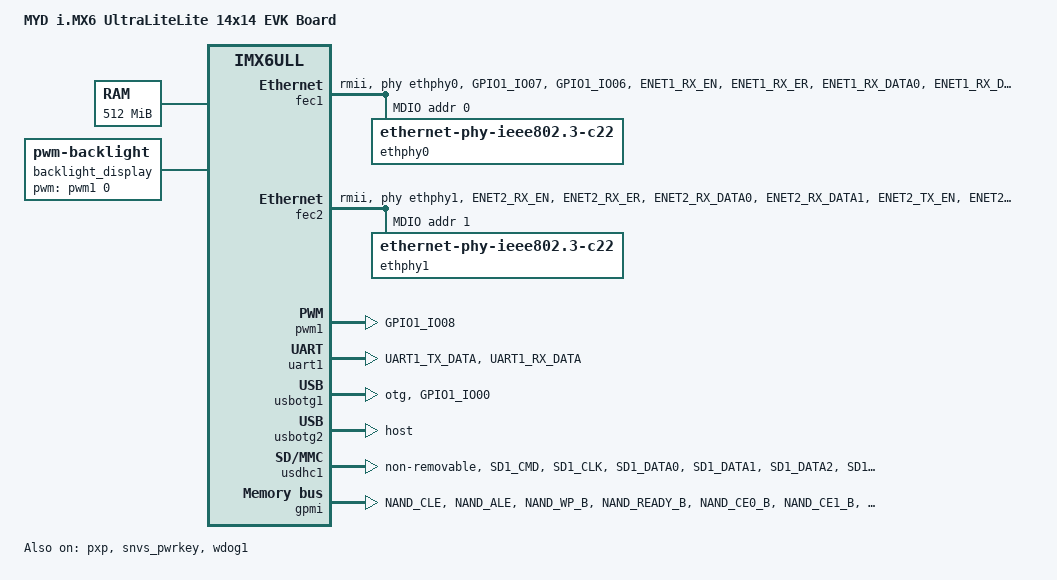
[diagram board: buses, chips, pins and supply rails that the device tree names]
// SPDX-License-Identifier: GPL-2.0
//
// Copyright (C) 2015 Freescale Semiconductor, Inc.

/dts-v1/;

#include "imx6ull.dtsi"

/ {
    model = "MYD i.MX6 UltraLiteLite 14x14 EVK Board";
	compatible = "fsl,imx6ull-14x14-evk", "fsl,imx6ull";

	chosen {
		stdout-path = &uart1;
	};

	memory@80000000 {
		device_type = "memory";
		reg = <0x80000000 0x20000000>;
	};

	backlight_display: backlight-display {
		compatible = "pwm-backlight";
		pwms = <&pwm1 0 5000000>;
		brightness-levels = <0 4 8 16 32 64 128 255>;
		default-brightness-level = <6>;
		status = "okay";
	};
};

&clks {
	assigned-clocks = <&clks IMX6UL_CLK_PLL4_AUDIO_DIV>;
	assigned-clock-rates = <786432000>;
};

&clks {
	assigned-clocks = <&clks IMX6UL_CLK_PLL3_PFD2>;
	assigned-clock-rates = <320000000>;
};


&i2c2 {
	clock-frequency = <100000>;
	pinctrl-names = "default";
	pinctrl-0 = <&pinctrl_i2c2>;
	status = "disabled";
};

&csi {
	status = "disabled";
};

&fec1 {
	pinctrl-names = "default";
	pinctrl-0 = <&pinctrl_enet1>;
	phy-mode = "rmii";
	phy-handle = <&ethphy0>;
    phy-reset-gpios = <&gpio5 9 GPIO_ACTIVE_LOW>;
    phy-reset-duration = <26>;
	status = "okay";
    mdio {
		#address-cells = <1>;
		#size-cells = <0>;

		ethphy0: ethernet-phy@0 {
			compatible = "ethernet-phy-ieee802.3-c22";
			reg = <0>;
			//micrel,led-mode = <1>;
            smsc,disable-energy-detect;
		};

	};
};

&fec2 {
	pinctrl-names = "default";
    pinctrl-0 = <&pinctrl_enet2
                 &pinctrl_fec2_reset>;
	phy-mode = "rmii";
	phy-handle = <&ethphy1>;
    phy-reset-gpios = <&gpio5 6 GPIO_ACTIVE_LOW>;
    phy-reset-duration = <26>;
	status = "okay";

	mdio {
		#address-cells = <1>;
		#size-cells = <0>;

		ethphy1: ethernet-phy@1 {
			compatible = "ethernet-phy-ieee802.3-c22";
			reg = <1>;
			micrel,led-mode = <1>;
            smsc,disable-energy-detect;
		};
	};
};

&can1 {
	pinctrl-names = "default";
	pinctrl-0 = <&pinctrl_flexcan1>;
	status = "disabled";
};

&can2 {
	pinctrl-names = "default";
	pinctrl-0 = <&pinctrl_flexcan2>;
	status = "disabled";
};

&gpc {
	fsl,cpu_pupscr_sw2iso = <0xf>;
	fsl,cpu_pupscr_sw = <0x0>;
	fsl,cpu_pdnscr_iso2sw = <0x1>;
	fsl,cpu_pdnscr_iso = <0x1>;
	fsl,ldo-bypass = <0>; /* DCDC, ldo-enable */
};

&i2c1 {
	clock-frequency = <100000>;
	pinctrl-names = "default";
	pinctrl-0 = <&pinctrl_i2c1>;
	status = "disabled";
};

&lcdif {
	assigned-clocks = <&clks IMX6UL_CLK_LCDIF_PRE_SEL>;
	assigned-clock-parents = <&clks IMX6UL_CLK_PLL5_VIDEO_DIV>;
	pinctrl-names = "default";
	pinctrl-0 = <&pinctrl_lcdif_dat
		     &pinctrl_lcdif_ctrl>;
	status = "disabled";
};

&pwm1 {
	#pwm-cells = <2>;
	pinctrl-names = "default";
	pinctrl-0 = <&pinctrl_pwm1>;
	status = "okay";
};

&pxp {
	status = "okay";
};

&qspi {
	pinctrl-names = "default";
	pinctrl-0 = <&pinctrl_qspi>;
	status = "disabled";
};

&sai2 {
	pinctrl-names = "default";
	pinctrl-0 = <&pinctrl_sai2>;
	assigned-clocks = <&clks IMX6UL_CLK_SAI2_SEL>,
			  <&clks IMX6UL_CLK_SAI2>;
	assigned-clock-parents = <&clks IMX6UL_CLK_PLL4_AUDIO_DIV>;
	assigned-clock-rates = <0>, <12288000>;
	fsl,sai-mclk-direction-output;
	status = "disabled";
};

&snvs_poweroff {
	status = "okay";
};

&snvs_pwrkey {
	status = "okay";
};

&tsc {
	pinctrl-names = "default";
	pinctrl-0 = <&pinctrl_tsc>;
	xnur-gpio = <&gpio1 3 GPIO_ACTIVE_LOW>;
	measure-delay-time = <0xffff>;
	pre-charge-time = <0xfff>;
	status = "disabled";
};

&uart1 {
	pinctrl-names = "default";
	pinctrl-0 = <&pinctrl_uart1>;
	status = "okay";
};

&uart2 {
	pinctrl-names = "default";
	pinctrl-0 = <&pinctrl_uart2>;
	status = "disabled";
};

&usbotg1 {
	dr_mode = "otg";
	pinctrl-names = "default";
	pinctrl-0 = <&pinctrl_usb_otg1>;
    srp-disable;
	hnp-disable;
	adp-disable;
	status = "okay";
};

&usbotg2 {
	dr_mode = "host";
	disable-over-current;
	status = "okay";
};

&usbphy1 {
	fsl,tx-d-cal = <106>;
};

&usbphy2 {
	fsl,tx-d-cal = <106>;
};

&usdhc1 {
	pinctrl-names = "default", "state_100mhz", "state_200mhz";
	pinctrl-0 = <&pinctrl_usdhc1>;
	pinctrl-1 = <&pinctrl_usdhc1_100mhz>;
	pinctrl-2 = <&pinctrl_usdhc1_200mhz>;
	//cd-gpios = <&gpio1 19 GPIO_ACTIVE_LOW>;
	keep-power-in-suspend;
    non-removable;
	//wakeup-source;
	status = "okay";
};

&usdhc2 {
	pinctrl-names = "default";
	pinctrl-0 = <&pinctrl_usdhc2>;
	no-1-8-v;
	broken-cd;
	keep-power-in-suspend;
	wakeup-source;
	status = "disabled";
};

&wdog1 {
	pinctrl-names = "default";
	pinctrl-0 = <&pinctrl_wdog>;
	fsl,ext-reset-output;
    status = "okay";
};

&iomuxc {
	pinctrl-names = "default";

	pinctrl_camera_clock: cameraclockgrp {
		fsl,pins = <
			MX6UL_PAD_CSI_MCLK__CSI_MCLK		0x1b088
		>;
	};

	pinctrl_csi1: csi1grp {
		fsl,pins = <
			MX6UL_PAD_CSI_PIXCLK__CSI_PIXCLK	0x1b088
			MX6UL_PAD_CSI_VSYNC__CSI_VSYNC		0x1b088
			MX6UL_PAD_CSI_HSYNC__CSI_HSYNC		0x1b088
			MX6UL_PAD_CSI_DATA00__CSI_DATA02	0x1b088
			MX6UL_PAD_CSI_DATA01__CSI_DATA03	0x1b088
			MX6UL_PAD_CSI_DATA02__CSI_DATA04	0x1b088
			MX6UL_PAD_CSI_DATA03__CSI_DATA05	0x1b088
			MX6UL_PAD_CSI_DATA04__CSI_DATA06	0x1b088
			MX6UL_PAD_CSI_DATA05__CSI_DATA07	0x1b088
			MX6UL_PAD_CSI_DATA06__CSI_DATA08	0x1b088
			MX6UL_PAD_CSI_DATA07__CSI_DATA09	0x1b088
		>;
	};

	pinctrl_enet1: enet1grp {
		fsl,pins = <
            MX6UL_PAD_GPIO1_IO07__ENET2_MDC		0x1b0b0
			MX6UL_PAD_GPIO1_IO06__ENET2_MDIO	0x1b0b0
			MX6UL_PAD_ENET1_RX_EN__ENET1_RX_EN	0x1b0b0
			MX6UL_PAD_ENET1_RX_ER__ENET1_RX_ER	0x1b0b0
			MX6UL_PAD_ENET1_RX_DATA0__ENET1_RDATA00	0x1b0b0
			MX6UL_PAD_ENET1_RX_DATA1__ENET1_RDATA01	0x1b0b0
			MX6UL_PAD_ENET1_TX_EN__ENET1_TX_EN	0x1b0b0
			MX6UL_PAD_ENET1_TX_DATA0__ENET1_TDATA00	0x1b0b0
			MX6UL_PAD_ENET1_TX_DATA1__ENET1_TDATA01	0x1b0b0
			MX6UL_PAD_ENET1_TX_CLK__ENET1_REF_CLK1	0x4001b031
		>;
	};

	pinctrl_enet2: enet2grp {
		fsl,pins = <
			MX6UL_PAD_ENET2_RX_EN__ENET2_RX_EN	0x1b0b0
			MX6UL_PAD_ENET2_RX_ER__ENET2_RX_ER	0x1b0b0
			MX6UL_PAD_ENET2_RX_DATA0__ENET2_RDATA00	0x1b0b0
			MX6UL_PAD_ENET2_RX_DATA1__ENET2_RDATA01	0x1b0b0
			MX6UL_PAD_ENET2_TX_EN__ENET2_TX_EN	0x1b0b0
			MX6UL_PAD_ENET2_TX_DATA0__ENET2_TDATA00	0x1b0b0
			MX6UL_PAD_ENET2_TX_DATA1__ENET2_TDATA01	0x1b0b0
			MX6UL_PAD_ENET2_TX_CLK__ENET2_REF_CLK2	0x4001b031
		>;
	};

	pinctrl_flexcan1: flexcan1grp{
		fsl,pins = <
			MX6UL_PAD_UART3_RTS_B__FLEXCAN1_RX	0x1b020
			MX6UL_PAD_UART3_CTS_B__FLEXCAN1_TX	0x1b020
		>;
	};

	pinctrl_flexcan2: flexcan2grp{
		fsl,pins = <
			MX6UL_PAD_UART2_RTS_B__FLEXCAN2_RX	0x1b020
			MX6UL_PAD_UART2_CTS_B__FLEXCAN2_TX	0x1b020
		>;
	};

	pinctrl_i2c1: i2c1grp {
		fsl,pins = <
			MX6UL_PAD_UART4_TX_DATA__I2C1_SCL 0x4001b8b0
			MX6UL_PAD_UART4_RX_DATA__I2C1_SDA 0x4001b8b0
		>;
	};

	pinctrl_i2c2: i2c2grp {
		fsl,pins = <
			MX6UL_PAD_UART5_TX_DATA__I2C2_SCL 0x4001b8b0
			MX6UL_PAD_UART5_RX_DATA__I2C2_SDA 0x4001b8b0
		>;
	};

	pinctrl_lcdif_dat: lcdifdatgrp {
		fsl,pins = <
			MX6UL_PAD_LCD_DATA00__LCDIF_DATA00  0x79
			MX6UL_PAD_LCD_DATA01__LCDIF_DATA01  0x79
			MX6UL_PAD_LCD_DATA02__LCDIF_DATA02  0x79
			MX6UL_PAD_LCD_DATA03__LCDIF_DATA03  0x79
			MX6UL_PAD_LCD_DATA04__LCDIF_DATA04  0x79
			MX6UL_PAD_LCD_DATA05__LCDIF_DATA05  0x79
			MX6UL_PAD_LCD_DATA06__LCDIF_DATA06  0x79
			MX6UL_PAD_LCD_DATA07__LCDIF_DATA07  0x79
			MX6UL_PAD_LCD_DATA08__LCDIF_DATA08  0x79
			MX6UL_PAD_LCD_DATA09__LCDIF_DATA09  0x79
			MX6UL_PAD_LCD_DATA10__LCDIF_DATA10  0x79
			MX6UL_PAD_LCD_DATA11__LCDIF_DATA11  0x79
			MX6UL_PAD_LCD_DATA12__LCDIF_DATA12  0x79
			MX6UL_PAD_LCD_DATA13__LCDIF_DATA13  0x79
			MX6UL_PAD_LCD_DATA14__LCDIF_DATA14  0x79
			MX6UL_PAD_LCD_DATA15__LCDIF_DATA15  0x79
		>;
	};

	pinctrl_lcdif_ctrl: lcdifctrlgrp {
		fsl,pins = <
			MX6UL_PAD_LCD_CLK__LCDIF_CLK	    0x79
			MX6UL_PAD_LCD_ENABLE__LCDIF_ENABLE  0x79
			MX6UL_PAD_LCD_HSYNC__LCDIF_HSYNC    0x79
			MX6UL_PAD_LCD_VSYNC__LCDIF_VSYNC    0x79
			/* used for lcd reset */
			//MX6UL_PAD_SNVS_TAMPER9__GPIO5_IO09  0x79
		>;
	};

	pinctrl_qspi: qspigrp {
		fsl,pins = <
			MX6UL_PAD_NAND_WP_B__QSPI_A_SCLK	0x70a1
			MX6UL_PAD_NAND_READY_B__QSPI_A_DATA00	0x70a1
			MX6UL_PAD_NAND_CE0_B__QSPI_A_DATA01	0x70a1
			MX6UL_PAD_NAND_CE1_B__QSPI_A_DATA02	0x70a1
			MX6UL_PAD_NAND_CLE__QSPI_A_DATA03	0x70a1
			MX6UL_PAD_NAND_DQS__QSPI_A_SS0_B	0x70a1
		>;
	};

	pinctrl_sai2: sai2grp {
		fsl,pins = <
			MX6UL_PAD_JTAG_TDI__SAI2_TX_BCLK	0x17088
			MX6UL_PAD_JTAG_TDO__SAI2_TX_SYNC	0x17088
			MX6UL_PAD_JTAG_TRST_B__SAI2_TX_DATA	0x11088
			MX6UL_PAD_JTAG_TCK__SAI2_RX_DATA	0x11088
			MX6UL_PAD_JTAG_TMS__SAI2_MCLK		0x17088
			MX6UL_PAD_SNVS_TAMPER4__GPIO5_IO04	0x17059
		>;
	};

	pinctrl_pwm1: pwm1grp {
		fsl,pins = <
			MX6UL_PAD_GPIO1_IO08__PWM1_OUT   0x110b0
		>;
	};

	pinctrl_tsc: tscgrp {
		fsl,pins = <
			MX6UL_PAD_GPIO1_IO01__GPIO1_IO01		0xb0
			MX6UL_PAD_GPIO1_IO02__GPIO1_IO02		0xb0
			MX6UL_PAD_GPIO1_IO03__GPIO1_IO03		0xb0
			MX6UL_PAD_GPIO1_IO04__GPIO1_IO04		0xb0
		>;
	};

	pinctrl_uart1: uart1grp {
		fsl,pins = <
			MX6UL_PAD_UART1_TX_DATA__UART1_DCE_TX 0x1b0b1
			MX6UL_PAD_UART1_RX_DATA__UART1_DCE_RX 0x1b0b1
		>;
	};

	pinctrl_uart2: uart2grp {
		fsl,pins = <
			MX6UL_PAD_UART2_TX_DATA__UART2_DCE_TX	0x1b0b1
			MX6UL_PAD_UART2_RX_DATA__UART2_DCE_RX	0x1b0b1
			MX6UL_PAD_UART3_RX_DATA__UART2_DCE_RTS	0x1b0b1
			MX6UL_PAD_UART3_TX_DATA__UART2_DCE_CTS	0x1b0b1
		>;
	};

	pinctrl_usb_otg1: usbotg1grp {
		fsl,pins = <
			MX6UL_PAD_GPIO1_IO00__ANATOP_OTG1_ID	0x17059
		>;
	};

	pinctrl_usdhc1: usdhc1grp {
		fsl,pins = <
            MX6UL_PAD_SD1_CMD__USDHC1_CMD     0x17059
            MX6UL_PAD_SD1_CLK__USDHC1_CLK     0x10071
            MX6UL_PAD_SD1_DATA0__USDHC1_DATA0 0x17059
            MX6UL_PAD_SD1_DATA1__USDHC1_DATA1 0x17059
            MX6UL_PAD_SD1_DATA2__USDHC1_DATA2 0x17059
            MX6UL_PAD_SD1_DATA3__USDHC1_DATA3 0x17059
		>;
	};

	pinctrl_usdhc1_100mhz: usdhc1grp100mhz {
		fsl,pins = <
			MX6UL_PAD_SD1_CMD__USDHC1_CMD     0x170b9
			MX6UL_PAD_SD1_CLK__USDHC1_CLK     0x100b9
			MX6UL_PAD_SD1_DATA0__USDHC1_DATA0 0x170b9
			MX6UL_PAD_SD1_DATA1__USDHC1_DATA1 0x170b9
			MX6UL_PAD_SD1_DATA2__USDHC1_DATA2 0x170b9
			MX6UL_PAD_SD1_DATA3__USDHC1_DATA3 0x170b9

		>;
	};

	pinctrl_usdhc1_200mhz: usdhc1grp200mhz {
		fsl,pins = <
			MX6UL_PAD_SD1_CMD__USDHC1_CMD     0x170f9
			MX6UL_PAD_SD1_CLK__USDHC1_CLK     0x100f9
			MX6UL_PAD_SD1_DATA0__USDHC1_DATA0 0x170f9
			MX6UL_PAD_SD1_DATA1__USDHC1_DATA1 0x170f9
			MX6UL_PAD_SD1_DATA2__USDHC1_DATA2 0x170f9
			MX6UL_PAD_SD1_DATA3__USDHC1_DATA3 0x170f9
		>;
	};

	pinctrl_usdhc2: usdhc2grp {
		fsl,pins = <
			MX6UL_PAD_NAND_RE_B__USDHC2_CLK     0x17059
			MX6UL_PAD_NAND_WE_B__USDHC2_CMD     0x17059
			MX6UL_PAD_NAND_DATA00__USDHC2_DATA0 0x17059
			MX6UL_PAD_NAND_DATA01__USDHC2_DATA1 0x17059
			MX6UL_PAD_NAND_DATA02__USDHC2_DATA2 0x17059
			MX6UL_PAD_NAND_DATA03__USDHC2_DATA3 0x17059
		>;
	};

	pinctrl_wdog: wdoggrp {
		fsl,pins = <
			MX6UL_PAD_LCD_RESET__WDOG1_WDOG_ANY    0x30b0
		>;
	};

    pinctrl_gpmi_nand_1: gpmi-nand-1 {
        fsl,pins = <
            MX6UL_PAD_NAND_CLE__RAWNAND_CLE         0xb0b1
            MX6UL_PAD_NAND_ALE__RAWNAND_ALE         0xb0b1
            MX6UL_PAD_NAND_WP_B__RAWNAND_WP_B       0xb0b1
            MX6UL_PAD_NAND_READY_B__RAWNAND_READY_B 0xb000
            MX6UL_PAD_NAND_CE0_B__RAWNAND_CE0_B     0xb0b1
            MX6UL_PAD_NAND_CE1_B__RAWNAND_CE1_B     0xb0b1
            MX6UL_PAD_NAND_RE_B__RAWNAND_RE_B       0xb0b1
            MX6UL_PAD_NAND_WE_B__RAWNAND_WE_B       0xb0b1
            MX6UL_PAD_NAND_DATA00__RAWNAND_DATA00   0xb0b1
            MX6UL_PAD_NAND_DATA01__RAWNAND_DATA01   0xb0b1
            MX6UL_PAD_NAND_DATA02__RAWNAND_DATA02   0xb0b1
            MX6UL_PAD_NAND_DATA03__RAWNAND_DATA03   0xb0b1
            MX6UL_PAD_NAND_DATA04__RAWNAND_DATA04   0xb0b1
            MX6UL_PAD_NAND_DATA05__RAWNAND_DATA05   0xb0b1
            MX6UL_PAD_NAND_DATA06__RAWNAND_DATA06   0xb0b1
            MX6UL_PAD_NAND_DATA07__RAWNAND_DATA07   0xb0b1
        >;
    };
};

&iomuxc_snvs {
	pinctrl-names = "default_snvs";
    pinctrl-0 = <&pinctrl_hog_2>;
    pinctrl_hog_2: hoggrp-2 {
        fsl,pins = <
            MX6ULL_PAD_SNVS_TAMPER0__GPIO5_IO00      0x80000000
        >;
    };

    pinctrl_fec1_reset: fec1_resetgrp {
        fsl,pins = <
            MX6ULL_PAD_SNVS_TAMPER9__GPIO5_IO09 0x79
        >;
    };
    pinctrl_fec2_reset: fec2_resetgrp {
        fsl,pins = <
            MX6ULL_PAD_SNVS_TAMPER6__GPIO5_IO06 0x79
        >;
    };

    pinctrl_dvfs: dvfsgrp {
        fsl,pins = <
            MX6ULL_PAD_SNVS_TAMPER3__GPIO5_IO03      0x79
        >;
    };
    

    pinctrl_spi4: spi4grp {
        fsl,pins = <
            MX6ULL_PAD_BOOT_MODE0__GPIO5_IO10        0x70a1
            MX6ULL_PAD_BOOT_MODE1__GPIO5_IO11        0x70a1
            MX6ULL_PAD_SNVS_TAMPER7__GPIO5_IO07      0x70a1
            MX6ULL_PAD_SNVS_TAMPER8__GPIO5_IO08      0x80000000
        >;
    };

    pinctrl_sai2_hp_det_b: sai2_hp_det_grp {
        fsl,pins = <
            MX6ULL_PAD_SNVS_TAMPER4__GPIO5_IO04   0x17059
        >;
    };
};

&gpmi {
	pinctrl-names = "default";
	pinctrl-0 = <&pinctrl_gpmi_nand_1>;
	status = "okay";
	nand-on-flash-bbt;
};
